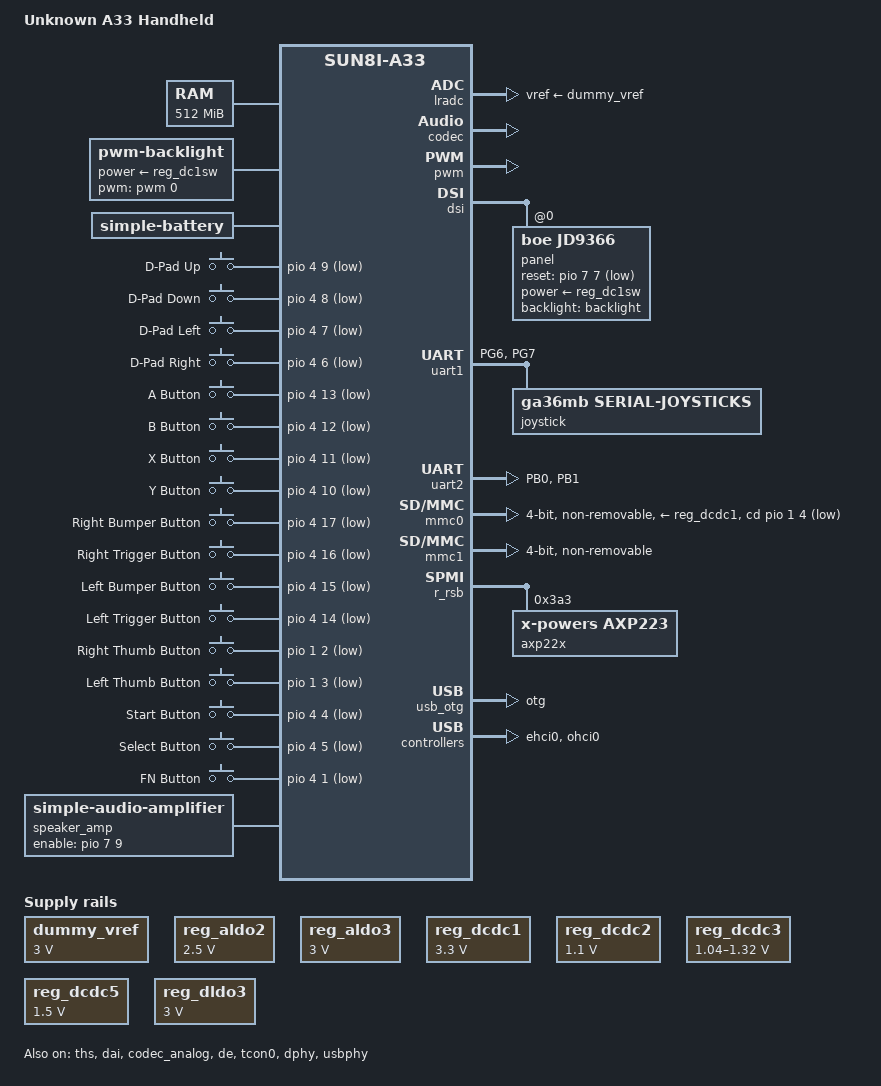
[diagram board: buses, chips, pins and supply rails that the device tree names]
/dts-v1/;
#include "sun8i-a33.dtsi"
#include <dt-bindings/input/linux-event-codes.h>
#include <dt-bindings/gpio/gpio.h>


/ {
    model = "Unknown A33 Handheld";
    compatible = "vendor,unknown-a33-handheld",
    "allwinner,sun8i-a33";
    
    aliases {
        /* Map ttyS0 to UART1 and ttyS1 to UART2 */
        serial0 = &uart1;
        serial1 = &uart2;

        mmc0 = &mmc0;
        mmc1 = &mmc1;
    };
    chosen {
        /* Point default output to serial1 (UART2) */
        stdout-path = "serial1:115200n8";
    };
    memory@40000000 {
        device_type = "memory";
        reg = <0x40000000 0x20000000>; /* VERIFY */
    };

    backlight: backlight {
        compatible = "pwm-backlight";
        pwms = <&pwm 0 50000 0>; /* fex: lcd_pwm_ch = 0, lcd_pwm_freq = 20000 Hz -> 50000 ns, lcd_pwm_pol = 0 -> non-inverted */
        brightness-levels = <0 10 20 30 40 50 60 70 80 90 100>;
        default-brightness-level = <5>;	/* fex: lcd0_bright = 50 */
        power-supply = <&reg_dc1sw>;	/* fex: lcd_power = axp22_dc1sw */
    };

    bat: battery {
        compatible = "simple-battery";
        charge-full-design-microamp-hours = <3000000>; /* fex: pmu_battery_cap = 3000 */
        factory-internal-resistance-micro-ohms = <119000>; /* fex: pmu_battery_rdc = 119 */
        
        /* Standard lipo battery extrema. I didn't pull this from the fex but every cheap lipo ever has these same values. */
        voltage-max-design-microvolt = <4200000>; /* 4.2V fully charged */
        voltage-min-design-microvolt = <3300000>; /* 3.3V safe cutoff */
    };

    gpio_gamepad: gpio-keys-polled {
        compatible = "gpio-keys-polled";
        poll-interval = <16>; /* in ms */
        autorepeat;

        button_up {
            label = "D-Pad Up";
            linux,code = <BTN_DPAD_UP>;
            gpios = <&pio 4 9 GPIO_ACTIVE_LOW>;
        };

        button_down {
            label = "D-Pad Down";
            linux,code = <BTN_DPAD_DOWN>;
            gpios = <&pio 4 8 GPIO_ACTIVE_LOW>;
        };

        button_left {
            label = "D-Pad Left";
            linux,code = <BTN_DPAD_LEFT>;
            gpios = <&pio 4 7 GPIO_ACTIVE_LOW>;
        };

        button_right {
            label = "D-Pad Right";
            linux,code = <BTN_DPAD_RIGHT>;
            gpios = <&pio 4 6 GPIO_ACTIVE_LOW>;
        };

        button_a {
            label = "A Button";
            linux,code = <BTN_A>;
            gpios = <&pio 4 13 GPIO_ACTIVE_LOW>; // This may actually be `4 12` - TODO: Confirm
        };

        button_b {
            label = "B Button";
            linux,code = <BTN_B>;
            gpios = <&pio 4 12 GPIO_ACTIVE_LOW>; // This may actually be `4 13` - TODO: Confirm
        };

        button_x {
            label = "X Button";
            linux,code = <BTN_X>;
            gpios = <&pio 4 11 GPIO_ACTIVE_LOW>;
        };

        button_y {
            label = "Y Button";
            linux,code = <BTN_Y>;
            gpios = <&pio 4 10 GPIO_ACTIVE_LOW>;
        };

        button_rb {
            label = "Right Bumper Button";
            linux,code = <BTN_TR>;
            gpios = <&pio 4 17 GPIO_ACTIVE_LOW>;
        };

        button_rt {
            label = "Right Trigger Button";
            linux,code = <BTN_TR2>;
            gpios = <&pio 4 16 GPIO_ACTIVE_LOW>;
        };

        button_lb {
            label = "Left Bumper Button";
            linux,code = <BTN_TL>;
            gpios = <&pio 4 15 GPIO_ACTIVE_LOW>;
        };

        button_lt {
            label = "Left Trigger Button";
            linux,code = <BTN_TL2>;
            gpios = <&pio 4 14 GPIO_ACTIVE_LOW>;
        };
        
        button_thumbr {
            label = "Right Thumb Button";
            linux,code = <BTN_THUMBR>;
            gpios = <&pio 1 2 GPIO_ACTIVE_LOW>;
        };

        button_thumbl {
            label = "Left Thumb Button";
            linux,code = <BTN_THUMBL>;
            gpios = <&pio 1 3 GPIO_ACTIVE_LOW>;
        };

        button_start {
            label = "Start Button";
            linux,code = <BTN_START>;
            gpios = <&pio 4 4 GPIO_ACTIVE_LOW>;
        };

        button_select {
            label = "Select Button";
            linux,code = <BTN_SELECT>;
            gpios = <&pio 4 5 GPIO_ACTIVE_LOW>;
        };

        button_fn {
            label = "FN Button";
            linux,code = <BTN_MODE>;
            gpios = <&pio 4 1 GPIO_ACTIVE_LOW>;
        };

    };

    speaker_amp: audio-amplifier {
		compatible = "simple-audio-amplifier";
		enable-gpios = <&pio 7 9 GPIO_ACTIVE_HIGH>; /* PH09 */
		sound-name-prefix = "Speaker Amp";
	};

    dummy_vref: dummy-lradc-vref {
        /* Needed for the `lradc` node to function */
		compatible = "regulator-fixed";
		regulator-name = "dummy-lradc-vref";
		regulator-min-microvolt = <3000000>;
		regulator-max-microvolt = <3000000>;
	};

};

/* Volume buttons */
&lradc {
	vref-supply = <&dummy_vref>;
	status = "okay";
    autorepeat;

	button-200 {
		label = "Volume Up Key";
		linux,code = <115>; /* KEY_VOLUMEUP */
		channel = <0>;
		voltage = <200000>;
	};

	button-400 {
		label = "Volume Down Key";
		linux,code = <114>; /* KEY_VOLUMEDOWN */
		channel = <0>;
		voltage = <400000>;
	};
};

&ths {
    status = "okay";
};

&sound {
	status = "okay";
	simple-audio-card,name = "GA36mbAudio";
	
    simple-audio-card,aux-devs = <&codec_analog>, <&speaker_amp>;
	
	simple-audio-card,widgets = 
		"Speaker", "Speaker",
		"Headphone", "Headphone Jack";
	
	simple-audio-card,routing =
        "Left DAC", "DACL",
		"Right DAC", "DACR",
		"Speaker Amp INL", "HP",
		"Speaker Amp INR", "HP",
		"Speaker", "Speaker Amp OUTL",
		"Speaker", "Speaker Amp OUTR",
		"Headphone Jack", "HP";
};

&dai {
	status = "okay";
};

&codec {
	status = "okay";
};

&codec_analog {
	status = "okay";
};

&pwm {
    pinctrl-names = "default";
    pinctrl-0 = <&pwm0_pin>;	/* PH0, fex [pwm0_para] */
    status = "okay";
};

&pio {
    /* I think this is correct? */
    vcc-pf-supply = <&reg_dcdc1>;
    vcc-pg-supply = <&reg_dcdc1>;
    vcc-ph-supply = <&reg_dcdc1>;
    vcc-pb-supply = <&reg_dcdc1>;

    uart1_pg_pins: uart1-pg-pins {
        pins = "PG6", "PG7";
        function = "uart1";
    };

    uart2_pb_pins: uart2-pb-pins {
        pins = "PB0", "PB1";
        function = "uart2";
    };
};

&dsi {
    status = "okay";
    vcc-dsi-supply = <&reg_dldo3>;

    panel@0 {
        compatible = "boe,jd9366";
        reg = <0>;
        power-supply = <&reg_dc1sw>;
        reset-gpios = <&pio 7 7 GPIO_ACTIVE_LOW>;
        backlight = <&backlight>;
    };
};

&de {
    status = "okay";
};

&tcon0 {
    status = "okay";
};

&dphy {
    status = "okay";
    vcc-supply = <&reg_dldo3>;
};

&uart1 {
    pinctrl-names = "default";
    pinctrl-0 = <&uart1_pg_pins>;
    status = "okay";

    joystick {
        compatible = "ga36mb,serial-joysticks";
    };
};

&uart2 {
    pinctrl-names = "default";
    pinctrl-0 = <&uart2_pb_pins>;
    status = "okay";
};

&mmc0 {
    pinctrl-names = "default";
    non-removable;
    bus-width = <4>;
    cd-gpios = <&pio 1 4 GPIO_ACTIVE_LOW>;
    pinctrl-0 = <&mmc0_pins>;
    vmmc-supply = <&reg_dcdc1>;
    status = "okay";
};
&mmc1 {
    bus-width = <4>;
    non-removable;
    pinctrl-names = "default";
    pinctrl-0 = <&mmc1_pg_pins>;
    status = "okay";
};

&r_rsb_pins {
    bias-pull-up;
};

&r_rsb {
    status = "okay";
    axp22x: pmic@3a3 {
        compatible = "x-powers,axp223";
        reg = <0x3a3>;
        interrupt-parent = <&r_intc>;
        interrupts = <GIC_SPI 32 IRQ_TYPE_LEVEL_LOW>;
    };
};


&cpu0 {
    cpu-supply = <&reg_dcdc3>;
    #cooling-cells = <2>;
};


// The base sun8i-a33.dtsi's opp table only goes up to 1.008ghz.
// The CPU can safely scale up to 1.5ghz, but for stability (and thermal) reasons, we're just going to let it go up to 1.2 for now.
// TODO: stress test the cpu with passive cooling at 1.5ghz.
&cpu0_opp_table {
    opp-1104000000 {
        opp-hz = /bits/ 64 <1104000000>;
        opp-microvolt = <1320000>;
        clock-latency-ns = <244144>;
    };
    opp-1200000000 {
        opp-hz = /bits/ 64 <1200000000>;
        opp-microvolt = <1320000>;
        clock-latency-ns = <244144>;
    };
};

#include "axp223.dtsi"


&battery_power_supply {
    status = "okay";
    monitored-battery = <&bat>;
};

&usb_power_supply {
    status = "okay";
};

&reg_aldo2 {
    regulator-always-on;
    regulator-min-microvolt = <2500000>;
    regulator-max-microvolt = <2500000>;
    regulator-name = "vcc-aldo2";
};

&reg_aldo3 {
    regulator-always-on;
    regulator-min-microvolt = <3000000>;
    regulator-max-microvolt = <3000000>;
    regulator-name = "vcc-aldo3";
};

&reg_dcdc1 {
    regulator-always-on;
    regulator-min-microvolt = <3300000>;
    regulator-max-microvolt = <3300000>;
    regulator-name = "vcc-io";
};

&reg_dcdc2 {
    regulator-always-on;
    regulator-min-microvolt = <1100000>;
    regulator-max-microvolt = <1100000>;
    regulator-name = "vdd-sys";
};


&reg_dcdc3 {
    regulator-always-on;
    regulator-min-microvolt = <1040000>;
    regulator-max-microvolt = <1320000>;
    regulator-name = "vdd-cpu";
};


&reg_dcdc5 {
    regulator-always-on;
    regulator-min-microvolt = <1500000>;
    regulator-max-microvolt = <1500000>;
    regulator-name = "vcc-dram";
};

&reg_dldo3 {
    regulator-always-on;
    regulator-min-microvolt = <3000000>;
    regulator-max-microvolt = <3000000>;
    regulator-name = "vcc-dldo3";
};

&reg_dc1sw {
    regulator-always-on;
    regulator-name = "vcc-lcd";	/* fex: lcd_power = axp22_dc1sw */
};

&reg_aldo1 {
    regulator-always-on;
    regulator-name = "vcc-aldo1";
};

&reg_dc5ldo {
    regulator-always-on;
    regulator-name = "vdd-cpus-dc5ldo";
};

/* USB OTG port in host mode, per fex [usbc0] */
&reg_drivevbus {
    regulator-name = "usb0-vbus";
    status = "okay";
};

&usb_otg {
    dr_mode = "otg";
    status = "okay";
};

&usbphy {
    usb0_id_det-gpios = <&pio 7 8 GPIO_ACTIVE_HIGH>;	/* fex: usb_id_gpio = PH08 */
    usb0_vbus_power-supply = <&usb_power_supply>;
    status = "okay";
};

&ehci0 {
    status = "okay";
};

&ohci0 {
    status = "okay";
};
